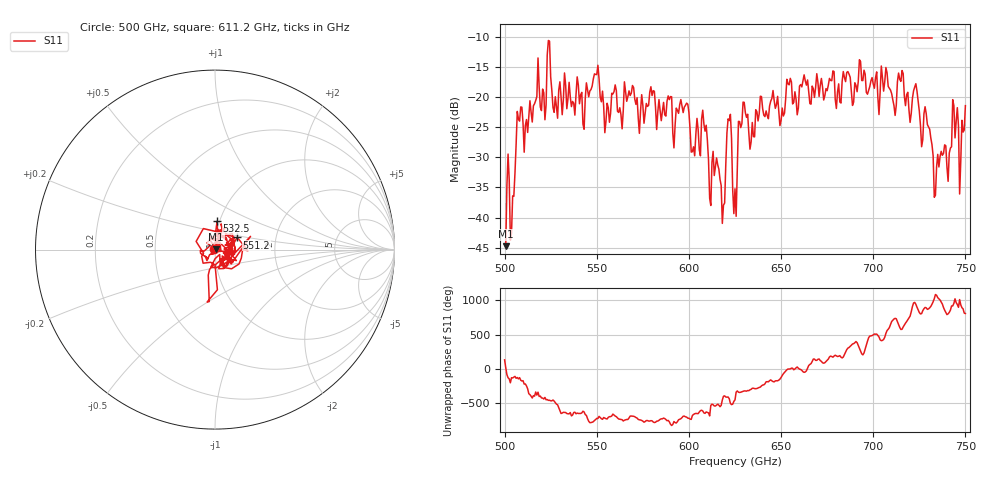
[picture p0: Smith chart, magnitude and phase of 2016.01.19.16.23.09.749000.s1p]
!Created with skrf (http://scikit-rf.org).
# GHz S RI R 50.0
!freq ReS11 ImS11
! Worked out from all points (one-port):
!   401 points, 500 GHz to 750 GHz, reference 50 ohm
!   lowest |S11| = -44.8 dB at 500.6 GHz (marker M1), VSWR 1.01, Z = 50.6 + j0.167 ohm
!   |S11| at or under -10 dB: start of sweep to end of sweep
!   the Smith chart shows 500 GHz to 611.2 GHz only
!   S11 on the Smith chart (normalised r, x): 500 GHz: 0.99, +0.01; 532.5 GHz: 0.97, +0.32; 551.2 GHz: 1.27, +0.18; 611.2 GHz: 1.02, +0.02
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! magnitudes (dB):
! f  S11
! 500 GHz  -44.5
! 500.6 GHz  -44.8
! 504.4 GHz  -36.4
! 508.1 GHz  -24.0
! 521.2 GHz  -19.3
! 524.4 GHz  -10.7
! 527.5 GHz  -19.9
! 531.2 GHz  -22.9
! 532.5 GHz  -16.0
! 551.2 GHz  -17.0
! 562.5 GHz  -21.8
! 593.8 GHz  -22.2
! 602.5 GHz  -28.3
! 608.1 GHz  -24.4
! 611.2 GHz  -36.8
! 618.1 GHz  -41.0
! 621.9 GHz  -23.9
! 625 GHz  -35.2
! 628.8 GHz  -24.4
! 634.4 GHz  -24.2
! 656.2 GHz  -21.1
! 687.5 GHz  -16.7
! 711.2 GHz  -21.4
! 715 GHz  -17.4
! 718.8 GHz  -19.2
! 723.1 GHz  -17.8
! 734.4 GHz  -31.6
! 750 GHz  -21.4
